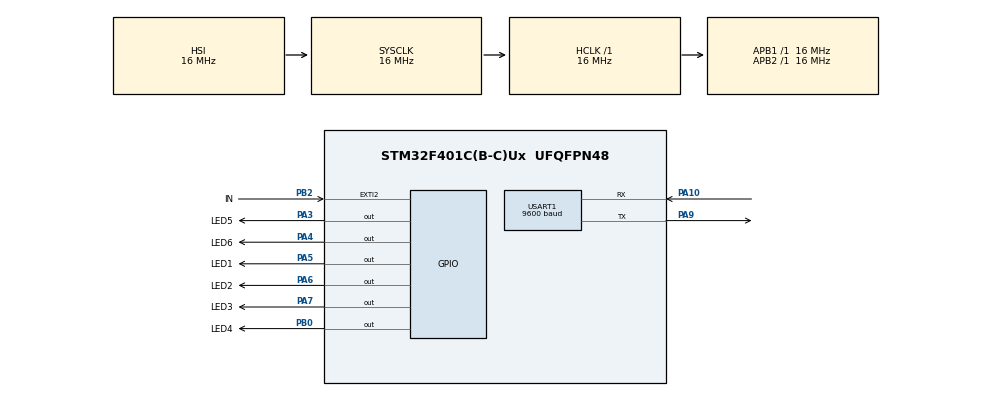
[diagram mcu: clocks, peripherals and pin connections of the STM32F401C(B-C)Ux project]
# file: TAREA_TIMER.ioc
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Dma.Request0=USART1_RX
Dma.USART1_RX.0.Direction=DMA_PERIPH_TO_MEMORY
Dma.USART1_RX.0.FIFOMode=DMA_FIFOMODE_DISABLE
Dma.USART1_RX.0.Instance=DMA2_Stream2
Dma.USART1_RX.0.MemDataAlignment=DMA_MDATAALIGN_BYTE
Dma.USART1_RX.0.MemInc=DMA_MINC_ENABLE
Dma.USART1_RX.0.Mode=DMA_NORMAL
Dma.USART1_RX.0.PeriphDataAlignment=DMA_PDATAALIGN_BYTE
Dma.USART1_RX.0.PeriphInc=DMA_PINC_DISABLE
Dma.USART1_RX.0.Priority=DMA_PRIORITY_LOW
Mcu.Family=STM32F4
Mcu.Name=STM32F401C(B-C)Ux
Mcu.Package=UFQFPN48
NVIC.DMA2_Stream2_IRQn=true\:0\:0\:false\:false\:true\:false\:true\:true
NVIC.EXTI2_IRQn=true\:0\:0\:false\:false\:true\:true\:true\:true
NVIC.PriorityGroup=NVIC_PRIORITYGROUP_2
NVIC.TIM1_UP_TIM10_IRQn=true\:2\:0\:true\:false\:true\:true\:true\:true
NVIC.USART1_IRQn=true\:0\:0\:true\:false\:true\:true\:true\:true
PA10.Mode=Asynchronous
PA10.Signal=USART1_RX
PA3.GPIO_Label=LED5
PA3.Signal=GPIO_Output
PA4.GPIO_Label=LED6
PA4.Signal=GPIO_Output
PA5.GPIO_Label=LED1
PA5.Signal=GPIO_Output
PA6.GPIO_Label=LED2
PA6.Signal=GPIO_Output
PA7.GPIO_Label=LED3
PA7.Signal=GPIO_Output
PA9.Mode=Asynchronous
PA9.Signal=USART1_TX
PB0.GPIO_Label=LED4
PB0.Signal=GPIO_Output
PB2.GPIO_Label=IN
PB2.GPIO_ModeDefaultEXTI=GPIO_MODE_IT_FALLING
PB2.GPIO_PuPd=GPIO_PULLUP
PB2.Signal=GPXTI2
ProjectManager.HeapSize=0x200
ProjectManager.StackSize=0x400
ProjectManager.TargetToolchain=CMake
RCC.AHBFreq_Value=16000000
RCC.APB1Freq_Value=16000000
RCC.APB2Freq_Value=16000000
RCC.CortexFreq_Value=16000000
RCC.HSE_VALUE=25000000
RCC.HSI_VALUE=16000000
RCC.LSE_VALUE=32768
RCC.SYSCLKFreq_VALUE=16000000
RCC.VCOOutputFreq_Value=192000000
TIM1.AutoReloadPreload=TIM_AUTORELOAD_PRELOAD_ENABLE
TIM1.Period=100-1
TIM1.Prescaler=16000-1
USART1.BaudRate=9600
USART1.VirtualMode=VM_ASYNC
VP_TIM1_VS_ClockSourceINT.Mode=Internal
board=custom

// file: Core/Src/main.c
/* USER CODE BEGIN Header */
/**
  ******************************************************************************
  * @file           : main.c
  * @brief          : Main program body
  ******************************************************************************
  * @attention
  *
  * Copyright (c) 2026 STMicroelectronics.
  * All rights reserved.
  *
  * This software is licensed under terms that can be found in the LICENSE file
  * in the root directory of this software component.
  * If no LICENSE file comes with this software, it is provided AS-IS.
  *
  ******************************************************************************
  */
/* USER CODE END Header */
#include "main.h"

/* USER CODE BEGIN Includes */
#include "stdint.h"
#include "stdio.h"
#include "string.h"
#include "stdlib.h"
#include "UARTRX.h"
#include "uart.h"

/* USER CODE END Includes */

TIM_HandleTypeDef htim1;

UART_HandleTypeDef huart1;
DMA_HandleTypeDef hdma_usart1_rx;

void SystemClock_Config(void);
static void MX_GPIO_Init(void);
static void MX_DMA_Init(void);
static void MX_TIM1_Init(void);
static void MX_USART1_UART_Init(void);
/* USER CODE BEGIN PFP */
void procesa_rx(void);
/* USER CODE END PFP */

int main(void)
{

  /* MCU Configuration--------------------------------------------------------*/

  /* Reset of all peripherals, Initializes the Flash interface and the Systick. */
  HAL_Init();

  /* Configure the system clock */
  SystemClock_Config();

  /* Initialize all configured peripherals */
  MX_GPIO_Init();
  MX_DMA_Init();
  MX_TIM1_Init();
  MX_USART1_UART_Init();
  /* USER CODE BEGIN 2 */
  /* Inicia la recepcion de USART1 por DMA + deteccion de linea IDLE */
  uartRX_it_idle_dma_init(&UARTRX1);

  /* HAL_TIM_Base_Init genera un evento de update que deja UIF en 1;
     se limpia para evitar una interrupcion espuria al arrancar */
  __HAL_TIM_CLEAR_FLAG(&htim1, TIM_FLAG_UPDATE);
  if (HAL_TIM_Base_Start_IT(&htim1) != HAL_OK)
  {
    Error_Handler();
  }
  /* USER CODE END 2 */

  /* Infinite loop */
  /* USER CODE BEGIN WHILE */
  while (1)
  {
    if (UARTRX1.flag_rx == 1)
    {
      procesa_rx(); // procedimiento donde se procesan los datos
      uartRX_DMA_Re_init(&UARTRX1);
    }

    HAL_Delay(1);
    /* USER CODE END WHILE */

  }
}

void SystemClock_Config(void)
{
  RCC_OscInitTypeDef RCC_OscInitStruct = {0};
  RCC_ClkInitTypeDef RCC_ClkInitStruct = {0};

  /** Configure the main internal regulator output voltage
  */
  __HAL_RCC_PWR_CLK_ENABLE();
  __HAL_PWR_VOLTAGESCALING_CONFIG(PWR_REGULATOR_VOLTAGE_SCALE2);

  /** Initializes the RCC Oscillators according to the specified parameters
  * in the RCC_OscInitTypeDef structure.
  */
  RCC_OscInitStruct.OscillatorType = RCC_OSCILLATORTYPE_HSI;
  RCC_OscInitStruct.HSIState = RCC_HSI_ON;
  RCC_OscInitStruct.HSICalibrationValue = RCC_HSICALIBRATION_DEFAULT;
  RCC_OscInitStruct.PLL.PLLState = RCC_PLL_NONE;
  if (HAL_RCC_OscConfig(&RCC_OscInitStruct) != HAL_OK)
  {
    Error_Handler();
  }

  /** Initializes the CPU, AHB and APB buses clocks
  */
  RCC_ClkInitStruct.ClockType = RCC_CLOCKTYPE_HCLK|RCC_CLOCKTYPE_SYSCLK
                              |RCC_CLOCKTYPE_PCLK1|RCC_CLOCKTYPE_PCLK2;
  RCC_ClkInitStruct.SYSCLKSource = RCC_SYSCLKSOURCE_HSI;
  RCC_ClkInitStruct.AHBCLKDivider = RCC_SYSCLK_DIV1;
  RCC_ClkInitStruct.APB1CLKDivider = RCC_HCLK_DIV1;
  RCC_ClkInitStruct.APB2CLKDivider = RCC_HCLK_DIV1;

  if (HAL_RCC_ClockConfig(&RCC_ClkInitStruct, FLASH_LATENCY_0) != HAL_OK)
  {
    Error_Handler();
  }
}

static void MX_TIM1_Init(void)
{

  TIM_ClockConfigTypeDef sClockSourceConfig = {0};
  TIM_MasterConfigTypeDef sMasterConfig = {0};

  htim1.Instance = TIM1;
  htim1.Init.Prescaler = 16000-1;
  htim1.Init.CounterMode = TIM_COUNTERMODE_UP;
  htim1.Init.Period = 100-1;
  htim1.Init.ClockDivision = TIM_CLOCKDIVISION_DIV1;
  htim1.Init.RepetitionCounter = 0;
  htim1.Init.AutoReloadPreload = TIM_AUTORELOAD_PRELOAD_ENABLE;
  if (HAL_TIM_Base_Init(&htim1) != HAL_OK)
  {
    Error_Handler();
  }
  sClockSourceConfig.ClockSource = TIM_CLOCKSOURCE_INTERNAL;
  if (HAL_TIM_ConfigClockSource(&htim1, &sClockSourceConfig) != HAL_OK)
  {
    Error_Handler();
  }
  sMasterConfig.MasterOutputTrigger = TIM_TRGO_RESET;
  sMasterConfig.MasterSlaveMode = TIM_MASTERSLAVEMODE_DISABLE;
  if (HAL_TIMEx_MasterConfigSynchronization(&htim1, &sMasterConfig) != HAL_OK)
  {
    Error_Handler();
  }

}

static void MX_USART1_UART_Init(void)
{

  huart1.Instance = USART1;
  huart1.Init.BaudRate = 9600;
  huart1.Init.WordLength = UART_WORDLENGTH_8B;
  huart1.Init.StopBits = UART_STOPBITS_1;
  huart1.Init.Parity = UART_PARITY_NONE;
  huart1.Init.Mode = UART_MODE_TX_RX;
  huart1.Init.HwFlowCtl = UART_HWCONTROL_NONE;
  huart1.Init.OverSampling = UART_OVERSAMPLING_16;
  if (HAL_UART_Init(&huart1) != HAL_OK)
  {
    Error_Handler();
  }

}

static void MX_DMA_Init(void)
{

  /* DMA controller clock enable */
  __HAL_RCC_DMA2_CLK_ENABLE();

  /* DMA interrupt init */
  /* DMA2_Stream2_IRQn interrupt configuration */
  HAL_NVIC_SetPriority(DMA2_Stream2_IRQn, 0, 0);
  HAL_NVIC_EnableIRQ(DMA2_Stream2_IRQn);

}

static void MX_GPIO_Init(void)
{
  GPIO_InitTypeDef GPIO_InitStruct = {0};

  /* GPIO Ports Clock Enable */
  __HAL_RCC_GPIOA_CLK_ENABLE();
  __HAL_RCC_GPIOB_CLK_ENABLE();

  /*Configure GPIO pin Output Level */
  HAL_GPIO_WritePin(GPIOA, LED5_Pin|LED6_Pin|LED1_Pin|LED2_Pin
                          |LED3_Pin, GPIO_PIN_RESET);

  /*Configure GPIO pin Output Level */
  HAL_GPIO_WritePin(LED4_GPIO_Port, LED4_Pin, GPIO_PIN_RESET);

  /*Configure GPIO pins : LED5_Pin LED6_Pin LED1_Pin LED2_Pin
                           LED3_Pin */
  GPIO_InitStruct.Pin = LED5_Pin|LED6_Pin|LED1_Pin|LED2_Pin
                          |LED3_Pin;
  GPIO_InitStruct.Mode = GPIO_MODE_OUTPUT_PP;
  GPIO_InitStruct.Pull = GPIO_NOPULL;
  GPIO_InitStruct.Speed = GPIO_SPEED_FREQ_LOW;
  HAL_GPIO_Init(GPIOA, &GPIO_InitStruct);

  /*Configure GPIO pin : LED4_Pin */
  GPIO_InitStruct.Pin = LED4_Pin;
  GPIO_InitStruct.Mode = GPIO_MODE_OUTPUT_PP;
  GPIO_InitStruct.Pull = GPIO_NOPULL;
  GPIO_InitStruct.Speed = GPIO_SPEED_FREQ_LOW;
  HAL_GPIO_Init(LED4_GPIO_Port, &GPIO_InitStruct);

  /*Configure GPIO pin : IN_Pin */
  GPIO_InitStruct.Pin = IN_Pin;
  GPIO_InitStruct.Mode = GPIO_MODE_IT_FALLING;
  GPIO_InitStruct.Pull = GPIO_PULLUP;
  HAL_GPIO_Init(IN_GPIO_Port, &GPIO_InitStruct);

  /* EXTI interrupt init*/
  HAL_NVIC_SetPriority(EXTI2_IRQn, 0, 0);
  HAL_NVIC_EnableIRQ(EXTI2_IRQn);

}

/* USER CODE BEGIN 4 */
/**
  * @brief  Callback de periodo cumplido del timer (cada 100 ms con TIM1).
  * @param  htim: handle del timer que genero la interrupcion
  * @retval None
  */
void HAL_TIM_PeriodElapsedCallback(TIM_HandleTypeDef *htim)
{
  static uint8_t cuenta_led1 = 0;
  static uint8_t cuenta_led3 = 0;

  if (htim->Instance == TIM1)
  {
    HAL_GPIO_TogglePin(LED2_GPIO_Port, LED2_Pin);

    /* LED1 cambia cada 5 interrupciones de 100 ms = 500 ms */
    cuenta_led1++;
    if (cuenta_led1 >= 5)
    {
      cuenta_led1 = 0;
      HAL_GPIO_TogglePin(LED1_GPIO_Port, LED1_Pin);
    }

    /* LED3 cambia cada 20 interrupciones de 100 ms = 2 s */
    cuenta_led3++;
    if (cuenta_led3 >= 20)
    {
      cuenta_led3 = 0;
      HAL_GPIO_TogglePin(LED3_GPIO_Port, LED3_Pin);
    }
  }
}

/**
  * @brief  Procesa la trama recibida por USART1 (UARTRX1.trama_rx).
  *         Comandos:
  *           "LED5 ON*" -> enciende LED5
  *           "LED6 ON*" -> enciende LED6
  *           "LED5 OFF*" -> apaga LED5
  *           "LED6 OFF*" -> apaga LED6
  * @retval None
  */
void procesa_rx(void)
{
  char *trama = (char *)UARTRX1.trama_rx;

  if (strstr(trama, "LED5 ON*"))
  {
    HAL_GPIO_WritePin(LED5_GPIO_Port, LED5_Pin, GPIO_PIN_SET);
    uartx_write_text(&huart1, "LED5 ENCENDIDO\r\n");
  }
  else if (strstr(trama, "LED6 ON*"))
  {
    HAL_GPIO_WritePin(LED6_GPIO_Port, LED6_Pin, GPIO_PIN_SET);
    uartx_write_text(&huart1, "LED6 ENCENDIDO\r\n");
  }
  else if (strstr(trama, "LED5 OFF*"))
  {
    HAL_GPIO_WritePin(LED5_GPIO_Port, LED5_Pin, GPIO_PIN_RESET);
    uartx_write_text(&huart1, "LED5 APAGADO\r\n");
  }
  else if (strstr(trama, "LED6 OFF*"))
  {
    HAL_GPIO_WritePin(LED6_GPIO_Port, LED6_Pin, GPIO_PIN_RESET);
    uartx_write_text(&huart1, "LED6 APAGADO\r\n");
  }
  else
  {
    uartx_write_text(&huart1, "COMANDO NO VALIDO\r\n");
  }
}

/* USER CODE END 4 */

void Error_Handler(void)
{
  __disable_irq();
  while (1)
  {
  }
}
